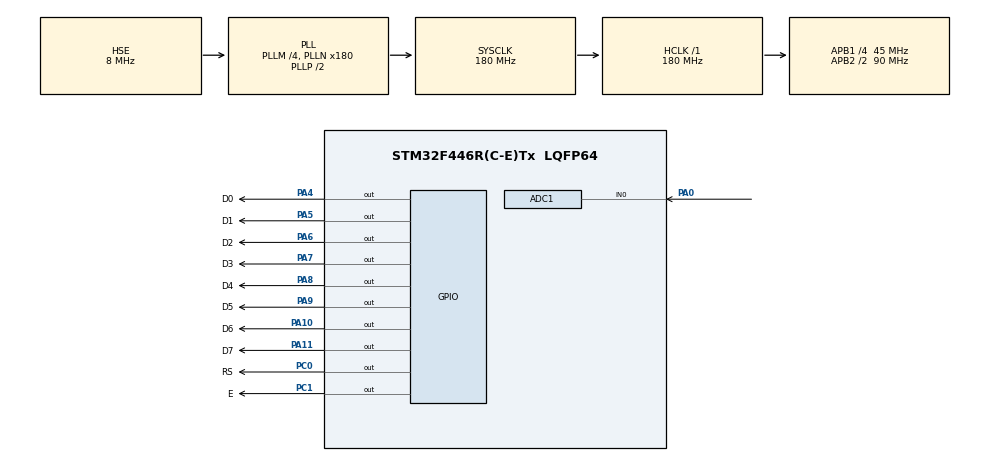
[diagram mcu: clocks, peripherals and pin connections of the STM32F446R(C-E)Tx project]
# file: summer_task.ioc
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ADC1.Channel-0\#ChannelRegularConversion=ADC_CHANNEL_0
ADC1.NbrOfConversionFlag=1
ADC1.Rank-0\#ChannelRegularConversion=1
ADC1.SamplingTime-0\#ChannelRegularConversion=ADC_SAMPLETIME_3CYCLES
ADC1.master=1
Dma.ADC1.0.Direction=DMA_PERIPH_TO_MEMORY
Dma.ADC1.0.FIFOMode=DMA_FIFOMODE_DISABLE
Dma.ADC1.0.Instance=DMA2_Stream0
Dma.ADC1.0.MemDataAlignment=DMA_MDATAALIGN_HALFWORD
Dma.ADC1.0.MemInc=DMA_MINC_ENABLE
Dma.ADC1.0.Mode=DMA_NORMAL
Dma.ADC1.0.PeriphDataAlignment=DMA_PDATAALIGN_HALFWORD
Dma.ADC1.0.PeriphInc=DMA_PINC_DISABLE
Dma.ADC1.0.Priority=DMA_PRIORITY_LOW
Dma.Request0=ADC1
Mcu.Family=STM32F4
Mcu.Name=STM32F446R(C-E)Tx
Mcu.Package=LQFP64
NVIC.DMA2_Stream0_IRQn=true\:0\:0\:false\:false\:true\:false\:true\:true
NVIC.PriorityGroup=NVIC_PRIORITYGROUP_0
PA0-WKUP.Signal=ADCx_IN0
PA10.GPIO_Label=D6
PA10.Signal=GPIO_Output
PA11.GPIO_Label=D7
PA11.Signal=GPIO_Output
PA13.Mode=Serial_Wire
PA13.Signal=SYS_JTMS-SWDIO
PA14.Mode=Serial_Wire
PA14.Signal=SYS_JTCK-SWCLK
PA4.GPIO_Label=D0
PA4.Signal=GPIO_Output
PA5.GPIO_Label=D1
PA5.Signal=GPIO_Output
PA6.GPIO_Label=D2
PA6.Signal=GPIO_Output
PA7.GPIO_Label=D3
PA7.Signal=GPIO_Output
PA8.GPIO_Label=D4
PA8.Signal=GPIO_Output
PA9.GPIO_Label=D5
PA9.Signal=GPIO_Output
PC0.GPIO_Label=RS
PC0.Signal=GPIO_Output
PC1.GPIO_Label=E
PC1.Signal=GPIO_Output
PH0-OSC_IN.Mode=HSE-External-Oscillator
PH0-OSC_IN.Signal=RCC_OSC_IN
PH1-OSC_OUT.Mode=HSE-External-Oscillator
PH1-OSC_OUT.Signal=RCC_OSC_OUT
ProjectManager.HeapSize=0x200
ProjectManager.StackSize=0x400
ProjectManager.TargetToolchain=Makefile
RCC.AHBFreq_Value=180000000
RCC.APB1CLKDivider=RCC_HCLK_DIV4
RCC.APB1Freq_Value=45000000
RCC.APB1TimFreq_Value=90000000
RCC.APB2CLKDivider=RCC_HCLK_DIV2
RCC.APB2Freq_Value=90000000
RCC.APB2TimFreq_Value=180000000
RCC.CortexFreq_Value=180000000
RCC.FLatency-AdvancedSettings=FLASH_LATENCY_5
RCC.HCLKFreq_Value=180000000
RCC.HSE_VALUE=8000000
RCC.HSI_VALUE=16000000
RCC.LSE_VALUE=32768
RCC.PLLM=4
RCC.PLLN=180
RCC.PLLSourceVirtual=RCC_PLLSOURCE_HSE
RCC.SYSCLKFreq_VALUE=180000000
RCC.SYSCLKSource=RCC_SYSCLKSOURCE_PLLCLK
RCC.USBFreq_Value=180000000
RCC.VCOOutputFreq_Value=360000000
SH.ADCx_IN0.0=ADC1_IN0,IN0
board=NUCLEO-F446RE

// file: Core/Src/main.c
/* USER CODE BEGIN Header */
/**
  ******************************************************************************
  * @file           : main.c
  * @brief          : Main program body
  ******************************************************************************
  * @attention
  *
  * Copyright (c) 2025 STMicroelectronics.
  * All rights reserved.
  *
  * This software is licensed under terms that can be found in the LICENSE file
  * in the root directory of this software component.
  * If no LICENSE file comes with this software, it is provided AS-IS.
  *
  ******************************************************************************
  */
/* USER CODE END Header */
#include "main.h"
#include "adc.h"
#include "dma.h"
#include "gpio.h"

/* USER CODE BEGIN Includes */
#include "rotary.h"
#include "lcd1602.h"
#include <stdlib.h>
#include <stdio.h>
/* USER CODE END Includes */

void SystemClock_Config(void);

int main(void)
{

  /* MCU Configuration--------------------------------------------------------*/

  /* Reset of all peripherals, Initializes the Flash interface and the Systick. */
  HAL_Init();

  /* Configure the system clock */
  SystemClock_Config();

  /* Initialize all configured peripherals */
  MX_GPIO_Init();
  MX_DMA_Init();
  MX_ADC1_Init();
  /* USER CODE BEGIN 2 */
  rotaryInit(&hadc1);

  char msg[17];

  /* // 8 bit version
  LCD1602_HandleTypeDef lcd = {
    .RS_Port = GPIOC,
    .RS_PIN = RS_Pin,
    .E_Port = GPIOC,
    .E_PIN = E_Pin,
    .Data_Port = {GPIOA, GPIOA, GPIOA, GPIOA, GPIOA, GPIOA, GPIOA, GPIOA},
    .Data_Pin = {D0_Pin, D1_Pin, D2_Pin, D3_Pin, D4_Pin, D5_Pin, D6_Pin, D7_Pin},
    .mode = LCD_MODE_8BIT
  };
  */

  LCD1602_HandleTypeDef lcd = {
    .RS_Port = GPIOC,
    .RS_PIN = RS_Pin,
    .E_Port = GPIOC,
    .E_PIN = E_Pin,
    .Data_Port = {GPIOA, GPIOA, GPIOA, GPIOA},
    .Data_Pin = {D4_Pin, D5_Pin, D6_Pin, D7_Pin},
    .mode = LCD_MODE_4BIT
  };

  LCD_Init(&lcd);
  LCD_Clear(&lcd);

  LCD_SetCursor(&lcd, 0, 0);
  LCD_Println(&lcd, 0, 0, "Position:");

  LCD_SetCursor(&lcd, 1, 0);
  LCD_Println(&lcd, 1, 0, "RawValue:");

  /* USER CODE END 2 */

  /* Infinite loop */
  /* USER CODE BEGIN WHILE */
  static uint8_t last_pos = 255;
  static uint16_t last_raw = 32000;
  uint32_t now = 0, past = 0;
  const uint32_t interval = 300;
  while (1) {
  now = uwTick;

  if ((now - past >= interval)) {
    past = now;
    uint8_t pos = rotaryRead();
    uint16_t raw = rotaryGetRawADC();

    if (abs(pos - last_pos) >= 1) {
      last_pos = pos;
      sprintf(msg, "%-5hu", pos);
      LCD_Println(&lcd, 0, 10, msg);
    }

    if (abs(raw - last_raw) >= 1) {
      last_raw = raw;
      sprintf(msg, "%-5hu", raw);
      LCD_Println(&lcd, 1, 10, msg);
    }
  }

    /* USER CODE END WHILE */

  }
}

void SystemClock_Config(void)
{
  RCC_OscInitTypeDef RCC_OscInitStruct = {0};
  RCC_ClkInitTypeDef RCC_ClkInitStruct = {0};

  /** Configure the main internal regulator output voltage
  */
  __HAL_RCC_PWR_CLK_ENABLE();
  __HAL_PWR_VOLTAGESCALING_CONFIG(PWR_REGULATOR_VOLTAGE_SCALE1);

  /** Initializes the RCC Oscillators according to the specified parameters
  * in the RCC_OscInitTypeDef structure.
  */
  RCC_OscInitStruct.OscillatorType = RCC_OSCILLATORTYPE_HSE;
  RCC_OscInitStruct.HSEState = RCC_HSE_ON;
  RCC_OscInitStruct.PLL.PLLState = RCC_PLL_ON;
  RCC_OscInitStruct.PLL.PLLSource = RCC_PLLSOURCE_HSE;
  RCC_OscInitStruct.PLL.PLLM = 4;
  RCC_OscInitStruct.PLL.PLLN = 180;
  RCC_OscInitStruct.PLL.PLLP = RCC_PLLP_DIV2;
  RCC_OscInitStruct.PLL.PLLQ = 2;
  RCC_OscInitStruct.PLL.PLLR = 2;
  if (HAL_RCC_OscConfig(&RCC_OscInitStruct) != HAL_OK)
  {
    Error_Handler();
  }

  /** Activate the Over-Drive mode
  */
  if (HAL_PWREx_EnableOverDrive() != HAL_OK)
  {
    Error_Handler();
  }

  /** Initializes the CPU, AHB and APB buses clocks
  */
  RCC_ClkInitStruct.ClockType = RCC_CLOCKTYPE_HCLK|RCC_CLOCKTYPE_SYSCLK
                              |RCC_CLOCKTYPE_PCLK1|RCC_CLOCKTYPE_PCLK2;
  RCC_ClkInitStruct.SYSCLKSource = RCC_SYSCLKSOURCE_PLLCLK;
  RCC_ClkInitStruct.AHBCLKDivider = RCC_SYSCLK_DIV1;
  RCC_ClkInitStruct.APB1CLKDivider = RCC_HCLK_DIV4;
  RCC_ClkInitStruct.APB2CLKDivider = RCC_HCLK_DIV2;

  if (HAL_RCC_ClockConfig(&RCC_ClkInitStruct, FLASH_LATENCY_5) != HAL_OK)
  {
    Error_Handler();
  }
}

void Error_Handler(void)
{
  __disable_irq();
  while (1)
  {
  }
}
